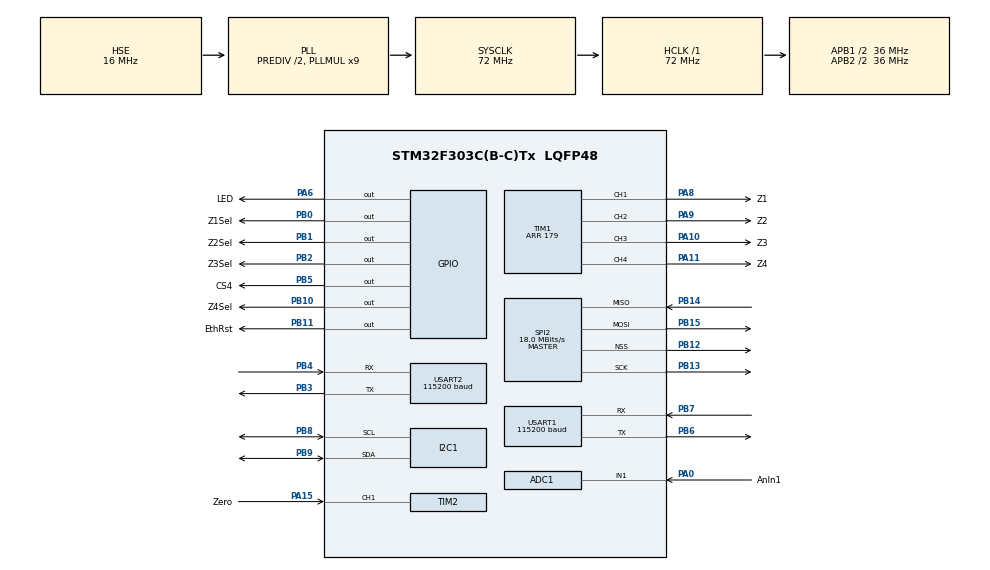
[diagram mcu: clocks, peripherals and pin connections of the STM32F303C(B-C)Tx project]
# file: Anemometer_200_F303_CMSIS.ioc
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ADC1.Channel-1\#ChannelRegularConversion=ADC_CHANNEL_1
ADC1.ClockPrescaler=ADC_CLOCK_ASYNC_DIV1
ADC1.ContinuousConvMode=ENABLE
ADC1.DMAContinuousRequests=ENABLE
ADC1.EOCSelection=ADC_EOC_SEQ_CONV
ADC1.ExternalTrigConv=ADC_EXTERNALTRIGCONV_T3_TRGO
ADC1.NbrOfConversion=1
ADC1.NbrOfConversionFlag=1
ADC1.Offset-1\#ChannelRegularConversion=0
ADC1.OffsetNumber-1\#ChannelRegularConversion=ADC_OFFSET_NONE
ADC1.Rank-1\#ChannelRegularConversion=1
ADC1.SamplingTime-1\#ChannelRegularConversion=ADC_SAMPLETIME_19CYCLES_5
ADC1.SequencerNbRanks=0
ADC1.master=1
Dma.ADC1.0.Direction=DMA_PERIPH_TO_MEMORY
Dma.ADC1.0.Instance=DMA1_Channel1
Dma.ADC1.0.MemDataAlignment=DMA_MDATAALIGN_HALFWORD
Dma.ADC1.0.MemInc=DMA_MINC_ENABLE
Dma.ADC1.0.Mode=DMA_NORMAL
Dma.ADC1.0.PeriphDataAlignment=DMA_PDATAALIGN_HALFWORD
Dma.ADC1.0.PeriphInc=DMA_PINC_DISABLE
Dma.ADC1.0.Priority=DMA_PRIORITY_HIGH
Dma.Request0=ADC1
I2C1.Timing=0x10808DD3
Mcu.Family=STM32F3
Mcu.Name=STM32F303C(B-C)Tx
Mcu.Package=LQFP48
NVIC.DMA1_Channel1_IRQn=true\:0\:0\:false\:false\:true\:false\:true\:true
NVIC.PriorityGroup=NVIC_PRIORITYGROUP_4
NVIC.TIM2_IRQn=true\:0\:0\:false\:false\:true\:true\:true\:true
NVIC.TIM3_IRQn=true\:0\:0\:false\:false\:true\:true\:true\:true
NVIC.TIM4_IRQn=true\:0\:0\:false\:false\:true\:true\:true\:true
PA0.GPIO_Label=AnIn1
PA0.Mode=IN1-Single-Ended
PA0.Signal=ADC1_IN1
PA10.GPIO_Label=Z3
PA10.Signal=S_TIM1_CH3
PA11.GPIO_Label=Z4
PA11.Signal=S_TIM1_CH4
PA15.GPIO_Label=Zero
PA15.Signal=S_TIM2_CH1_ETR
PA6.GPIO_Label=LED
PA6.Signal=GPIO_Output
PA8.GPIO_Label=Z1
PA8.Signal=S_TIM1_CH1
PA9.GPIO_Label=Z2
PA9.Signal=S_TIM1_CH2
PB0.GPIO_Label=Z1Sel
PB0.Signal=GPIO_Output
PB1.GPIO_Label=Z2Sel
PB1.Signal=GPIO_Output
PB10.GPIO_Label=Z4Sel
PB10.Signal=GPIO_Output
PB11.GPIO_Label=EthRst
PB11.Signal=GPIO_Output
PB12.Mode=NSS_Signal_Hard_Output
PB12.Signal=SPI2_NSS
PB13.Mode=Full_Duplex_Master
PB13.Signal=SPI2_SCK
PB14.Mode=Full_Duplex_Master
PB14.Signal=SPI2_MISO
PB15.Mode=Full_Duplex_Master
PB15.Signal=SPI2_MOSI
PB2.GPIO_Label=Z3Sel
PB2.Signal=GPIO_Output
PB3.Mode=Asynchronous
PB3.Signal=USART2_TX
PB4.Mode=Asynchronous
PB4.Signal=USART2_RX
PB5.GPIO_Label=CS4
PB5.Signal=GPIO_Output
PB6.Mode=Asynchronous
PB6.Signal=USART1_TX
PB7.Mode=Asynchronous
PB7.Signal=USART1_RX
PB8.GPIO_Pu=GPIO_PULLUP
PB8.Mode=I2C
PB8.Signal=I2C1_SCL
PB9.GPIO_Pu=GPIO_PULLUP
PB9.Mode=I2C
PB9.Signal=I2C1_SDA
PF0-OSC_IN.Mode=HSE-External-Oscillator
PF0-OSC_IN.Signal=RCC_OSC_IN
PF1-OSC_OUT.Mode=HSE-External-Oscillator
PF1-OSC_OUT.Signal=RCC_OSC_OUT
ProjectManager.HeapSize=0x200
ProjectManager.StackSize=0x400
ProjectManager.TargetToolchain=STM32CubeIDE
RCC.AHBFreq_Value=72000000
RCC.APB1CLKDivider=RCC_HCLK_DIV2
RCC.APB1Freq_Value=36000000
RCC.APB1TimFreq_Value=72000000
RCC.APB2CLKDivider=RCC_HCLK_DIV2
RCC.APB2Freq_Value=36000000
RCC.APB2TimFreq_Value=72000000
RCC.CortexFreq_Value=72000000
RCC.HCLKFreq_Value=72000000
RCC.HSE_VALUE=16000000
RCC.HSI_VALUE=8000000
RCC.I2c1ClockSelection=RCC_I2C1CLKSOURCE_SYSCLK
RCC.LSE_VALUE=32768
RCC.PLLMUL=RCC_PLL_MUL9
RCC.PLLSourceVirtual=RCC_PLLSOURCE_HSE
RCC.RCC_PLLsource_Clock_Source_FROM_HSE=RCC_HSE_PREDIV_DIV2
RCC.SYSCLKFreq_VALUE=72000000
RCC.SYSCLKSourceVirtual=RCC_SYSCLKSOURCE_PLLCLK
RCC.USBFreq_Value=72000000
SH.S_TIM1_CH1.0=TIM1_CH1,Output Compare1 CH1
SH.S_TIM1_CH2.0=TIM1_CH2,Output Compare2 CH2
SH.S_TIM1_CH3.0=TIM1_CH3,Output Compare3 CH3
SH.S_TIM1_CH4.0=TIM1_CH4,Output Compare4 CH4
SH.S_TIM2_CH1_ETR.0=TIM2_CH1,Input_Capture1_from_TI1
SPI2.BaudRatePrescaler=SPI_BAUDRATEPRESCALER_2
SPI2.CalculateBaudRate=18.0 MBits/s
SPI2.Direction=SPI_DIRECTION_2LINES
SPI2.Mode=SPI_MODE_MASTER
SPI2.VirtualNSS=VM_NSSHARD
SPI2.VirtualType=VM_MASTER
TIM1.Channel-Output\ Compare1\ CH1=TIM_CHANNEL_1
TIM1.Channel-Output\ Compare2\ CH2=TIM_CHANNEL_2
TIM1.Channel-Output\ Compare3\ CH3=TIM_CHANNEL_3
TIM1.Channel-Output\ Compare4\ CH4=TIM_CHANNEL_4
TIM1.OCMode_1=TIM_OCMODE_TOGGLE
TIM1.OCMode_2=TIM_OCMODE_TOGGLE
TIM1.OCMode_3=TIM_OCMODE_TOGGLE
TIM1.OCMode_4=TIM_OCMODE_TOGGLE
TIM1.Period=179
TIM1.RepetitionCounter=15
TIM1.TIM_MasterOutputTrigger=TIM_TRGO_UPDATE
TIM2.AutoReloadPreload=TIM_AUTORELOAD_PRELOAD_ENABLE
TIM2.Channel-Input_Capture1_from_TI1=TIM_CHANNEL_1
TIM2.ICPolarity_CH1=TIM_INPUTCHANNELPOLARITY_FALLING
TIM2.TIM_MasterOutputTrigger=TIM_TRGO_UPDATE
TIM3.AutoReloadPreload=TIM_AUTORELOAD_PRELOAD_ENABLE
TIM3.Channel-Output\ Compare1\ No\ Output=TIM_CHANNEL_1
TIM3.OCMode_1=TIM_OCMODE_ACTIVE
TIM3.Period=38000
TIM3.TIM_MasterOutputTrigger=TIM_TRGO_UPDATE
TIM4.Prescaler=12
USART1.BaudRate=115200
USART1.VirtualMode-Asynchronous=VM_ASYNC
USART2.BaudRate=115200
USART2.VirtualMode-Asynchronous=VM_ASYNC
VP_TIM1_VS_ClockSourceINT.Mode=Internal
VP_TIM1_VS_OPM.Mode=OPM_bit
VP_TIM2_VS_ClockSourceINT.Mode=Internal
VP_TIM2_VS_ClockSourceITR.Mode=TriggerSource_ITR2
VP_TIM2_VS_ControllerModeReset.Mode=Reset Mode
VP_TIM3_VS_ClockSourceINT.Mode=Internal
VP_TIM3_VS_ClockSourceITR.Mode=TriggerSource_ITR0
VP_TIM3_VS_ControllerModeTrigger.Mode=Trigger Mode
VP_TIM3_VS_OPM.Mode=OPM_bit
VP_TIM3_VS_no_output1.Mode=Output Compare1 No Output
VP_TIM4_VS_ClockSourceINT.Mode=Internal
board=custom

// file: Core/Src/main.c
/* USER CODE BEGIN Header */
/**
  ******************************************************************************
  * @file           : main.c
  * @brief          : Main program body
  ******************************************************************************
  * @attention
  *
  * <h2><center>&copy; Copyright (c) 2023 STMicroelectronics.
  * All rights reserved.</center></h2>
  *
  * This software component is licensed by ST under BSD 3-Clause license,
  * the "License"; You may not use this file except in compliance with the
  * License. You may obtain a copy of the License at:
  *                        opensource.org/licenses/BSD-3-Clause
  *
  ******************************************************************************
  */
/* USER CODE END Header */
#include "main.h"

/* USER CODE BEGIN PD */
uint8_t currentLevel = 0;
char SndBuffer[100];
uint32_t finishCapture, captureTIM2, maxIdx;
float convArray[CONVERSION_COUNT + REF_COUNT];
uint32_t * maxIndex = 0;
/* USER CODE END PD */

ADC_HandleTypeDef hadc1;
DMA_HandleTypeDef hdma_adc1;

I2C_HandleTypeDef hi2c1;

SPI_HandleTypeDef hspi2;

TIM_HandleTypeDef htim1;
TIM_HandleTypeDef htim2;
TIM_HandleTypeDef htim3;
TIM_HandleTypeDef htim4;

UART_HandleTypeDef huart1;
UART_HandleTypeDef huart2;

void SystemClock_Config(void);
static void MX_GPIO_Init(void);
static void MX_DMA_Init(void);
static void MX_TIM1_Init(void);
static void MX_ADC1_Init(void);
static void MX_I2C1_Init(void);
static void MX_SPI2_Init(void);
static void MX_USART1_UART_Init(void);
static void MX_USART2_UART_Init(void);
static void MX_TIM4_Init(void);
static void MX_TIM3_Init(void);
static void MX_TIM2_Init(void);

/* USER CODE BEGIN 0 */
#ifdef X9CXXX
/* Управление усилением от 0 до 99 */
void levelUp(uint8_t channel, uint8_t lev, bool updn) {
	/* Начальный уровень -- высокий, переключение выполняется переходом в низкий уровень */
	HAL_GPIO_WritePin(INC_GPIO_Port, INC_Pin, GPIO_PIN_SET);
	/* Отключим выбор всех регуляторов */
	HAL_GPIO_WritePin(CS1_GPIO_Port, CS1_Pin, GPIO_PIN_SET);
	HAL_GPIO_WritePin(CS2_GPIO_Port, CS2_Pin, GPIO_PIN_SET);
	HAL_GPIO_WritePin(CS3_GPIO_Port, CS3_Pin, GPIO_PIN_SET);
	HAL_GPIO_WritePin(CS4_GPIO_Port, CS4_Pin, GPIO_PIN_SET);
	/* Режим повышения уровня сигнала */
	if (updn) {
		HAL_GPIO_WritePin(UD_GPIO_Port, UD_Pin, GPIO_PIN_SET);
	} else {
		HAL_GPIO_WritePin(UD_GPIO_Port, UD_Pin, GPIO_PIN_RESET);
	}
	switch(channel) {
		case 0: {
			HAL_GPIO_WritePin(CS1_GPIO_Port, CS1_Pin, GPIO_PIN_RESET);
			break;
		}
		case 1: {
			HAL_GPIO_WritePin(CS2_GPIO_Port, CS2_Pin, GPIO_PIN_RESET);
			break;
		}
		case 2: {
			HAL_GPIO_WritePin(CS3_GPIO_Port, CS3_Pin, GPIO_PIN_RESET);
			break;
		}
		case 3: {
			HAL_GPIO_WritePin(CS4_GPIO_Port, CS4_Pin, GPIO_PIN_RESET);
			break;
		}
		default: {
			return;
		}
	}
	for (int iii = 0; iii < lev; iii++) {
		HAL_GPIO_WritePin(INC_GPIO_Port, INC_Pin, GPIO_PIN_RESET);
		HAL_GPIO_WritePin(INC_GPIO_Port, INC_Pin, GPIO_PIN_SET);
	}
	HAL_GPIO_WritePin(INC_GPIO_Port, INC_Pin, GPIO_PIN_RESET);
}
#endif

#ifdef  AD5245
/* Управление усилением от 0 до 254 */
void AD5245level(uint8_t lev) {
	uint8_t cmdBuff[2];
	uint16_t cmd = AD5245_WRITE;
	cmdBuff[0] = lev;
	HAL_I2C_Mem_Write(&AD5245_I2C_PORT, AD5245_I2C_ADDR, cmd, 2, cmdBuff, 1, 100);
}
#endif

/* USER CODE END 0 */

int main(void)
{

  /* MCU Configuration--------------------------------------------------------*/

  /* Reset of all peripherals, Initializes the Flash interface and the Systick. */
  HAL_Init();

  /* Configure the system clock */
  SystemClock_Config();

  /* Initialize all configured peripherals */
  MX_GPIO_Init();
  MX_DMA_Init();
  MX_TIM1_Init();
  MX_ADC1_Init();
  MX_I2C1_Init();
  MX_SPI2_Init();
  MX_USART1_UART_Init();
  MX_USART2_UART_Init();
  MX_TIM4_Init();
  MX_TIM3_Init();
  MX_TIM2_Init();

  /* Infinite loop */
  /* USER CODE BEGIN WHILE */
  HAL_UART_Transmit(&huart1, (uint8_t *) START_TEXT, sizeof(START_TEXT), 1000);
  mesCount = 0;
  TIM3->ARR = MEASURMENT_DALAY;
  for (int iii = 0; iii < CONVERSION_COUNT; iii++) {
	  adcBuffer[iii] = 0;
	  measArray[iii] = 0;
  }

  HAL_GPIO_WritePin(Z1Sel_GPIO_Port, Z1Sel_Pin, GPIO_PIN_RESET);
  HAL_GPIO_WritePin(Z2Sel_GPIO_Port, Z2Sel_Pin, GPIO_PIN_RESET);
  HAL_GPIO_WritePin(Z3Sel_GPIO_Port, Z3Sel_Pin, GPIO_PIN_RESET);
  HAL_GPIO_WritePin(Z4Sel_GPIO_Port, Z4Sel_Pin, GPIO_PIN_RESET);

  if ( (HAL_ADCEx_Calibration_Start(&hadc1, ADC_SINGLE_ENDED) == HAL_OK)
	&& (HAL_TIM_Base_Start_IT(&htim3) == HAL_OK)
	&& (HAL_TIM_Base_Start_IT(&htim4) == HAL_OK) ) {
	  HAL_UART_Transmit(&huart1, (uint8_t *) FINISH_TEXT, sizeof(FINISH_TEXT), 1000);
  } else {
	  HAL_UART_Transmit(&huart1, (uint8_t *) ERROR_TEXT, sizeof(ERROR_TEXT), 1000);
	  HAL_Delay(1000);
	  HAL_NVIC_SystemReset();
  }

  /* Test AD5245 */
	#ifdef AD5245
  currentLevel = 0;
	  AD5245level(currentLevel);
	#endif
	float refArray[REF_COUNT] =
	{
			1122.97, 1031.38, 599.13, -40.72, -699.43, -1138.74, -1223.18, -899.77, -281.71, 454.87, 1085.83, 1373.47, 1222.8, 673.01,  //14
			-84.56, -867.29, -1357.49, -1416.9, -1007.57, -291.46, 584.14, 1286.34, 1579.3, 1363.37, 711.94, -217.14, -1012.41, -1528.57, //14
			-1548.05, -1060.15, -239.89, 711.1, 1447.19, 1710.93, 1419.82, 673.13, -272.26, -1175.91, -1684, -1638.54, -1066.84, -152.26, //14
			846.65, 1582.45, 1788.48, 1402.37, 566.62, -440.04, -1346.52, -1795.53, -1648.72, -976.28, 11.56, 1031.21, 1709.1, 1805.62, //14
			1302.23, 379.69, -659.57, -1491.82, -1822.64, -1541.61, -772.99, 251.66, 1214.67, 1758.8, 1698.31, 1072.94, 104.21, -887.92, //14
			-1574.22, -1737.93, -1318.85, -458.2, 508.22, 1334.22, 1689.41, 1462.39, 755.91, -178.97, -1035.17, -1523.92, -1492.66, -973.56, //14
			-160.39, 713.11, 1325.14, 1472.77, 1122.73, 421.84, -380.02, -1039.83, -1317.47, -1153.01, -623.86, 80.94, 750.52, 1144.58, //14
			1139.43, 767.25
	};
  while (1)
  {
	  if (readyData) {
		  HAL_TIM_Base_Stop_IT(&htim4);
		  memset(SndBuffer, 0, sizeof(SndBuffer));
		#ifdef RAW_DATA_OUT
		  HAL_UART_Transmit(&huart1, (uint8_t *) "---\n\r", sizeof("---\n\r"), 1000);
		#endif
		  for (int ii = 0; ii < CONVERSION_COUNT; ii++) {
			measArray[ii] = measArray[ii] / MEASURE_COUNT - avgLevel;
		#ifdef RAW_DATA_OUT
		sprintf(SndBuffer, "%6.2f\n\r", measArray[ii]);
		HAL_UART_Transmit(&huart1, (uint8_t *) SndBuffer, sizeof(SndBuffer), 1000);
			#endif
		  }
		#ifdef RAW_DATA_OUT
		  HAL_UART_Transmit(&huart1, (uint8_t *) "---\n\r", sizeof("---\n\r"), 1000);
		#endif
		#ifndef RAW_DATA_OUT
			float maxLev = 0;
			maxAmp = 0;
			maxIdxAmp = 0;
			//HAL_UART_Transmit(&huart1, (uint8_t *) "TP0\n\r", sizeof("TP0\n\r"), 1000);
			arm_conv_f32(measArray, CONVERSION_COUNT, refArray, REF_COUNT, convArray);
			arm_chilbert_f32(&arm_cfft_sR_f32_len128, convArray);
			arm_absmax_f32(convArray, CONVERSION_COUNT + REF_COUNT, &maxLev, &maxIdxAmp);
			/*
			for (int ii = 0; ii < CONVERSION_COUNT + REF_COUNT; ii++) {
				if (maxLev < abs(convArray[ii])) {
					maxIdxAmp = ii;
					maxLev = abs(convArray[ii]);
				}
			}*/
			//arm_absmax_f32(convArray, CONVERSION_COUNT + REF_COUNT, maxLev, maxIndex);
			maxIdxAmp = maxIdxAmp - REF_COUNT;
			maxIdx = maxIdxAmp * SAMPLE_RATE;
		  memset(SndBuffer, 0, sizeof(SndBuffer));
		  //float vSound =

		  sprintf(SndBuffer, "Idx:%lu, maxLev: %f, avgLev:%6.2f, CAP: %lu, V: %5.2f, Vc:%5.2f  \r",
				  maxIdxAmp, maxLev, avgLevel, finishCapture,
				  204000 / ((float) 1/72 * (MEASURMENT_DALAY + finishCapture)),
				  204000 / ((float) 1/72 * (MEASURMENT_DALAY + maxIdxAmp * SAMPLE_RATE )));

	  	  HAL_UART_Transmit(&huart1, (uint8_t *) SndBuffer, sizeof(SndBuffer), 1000);
		#endif
		  for (int ii = 0; ii < CONVERSION_COUNT; ii++) {
			  measArray[ii] = 0;
		  }
	  	  readyData = false;
	  	HAL_TIM_Base_Start_IT(&htim4);
	  }
	  HAL_Delay(100);
	  /*
	  if (count++ > 100) {
		  count = 0;
		  ud = ! ud;
	  }
	  levelUp(0, 1, ud);
*/
    /* USER CODE END WHILE */

  }
}

void SystemClock_Config(void)
{
  RCC_OscInitTypeDef RCC_OscInitStruct = {0};
  RCC_ClkInitTypeDef RCC_ClkInitStruct = {0};
  RCC_PeriphCLKInitTypeDef PeriphClkInit = {0};

  /** Initializes the RCC Oscillators according to the specified parameters
  * in the RCC_OscInitTypeDef structure.
  */
  RCC_OscInitStruct.OscillatorType = RCC_OSCILLATORTYPE_HSE;
  RCC_OscInitStruct.HSEState = RCC_HSE_ON;
  RCC_OscInitStruct.HSEPredivValue = RCC_HSE_PREDIV_DIV2;
  RCC_OscInitStruct.HSIState = RCC_HSI_ON;
  RCC_OscInitStruct.PLL.PLLState = RCC_PLL_ON;
  RCC_OscInitStruct.PLL.PLLSource = RCC_PLLSOURCE_HSE;
  RCC_OscInitStruct.PLL.PLLMUL = RCC_PLL_MUL9;
  if (HAL_RCC_OscConfig(&RCC_OscInitStruct) != HAL_OK)
  {
    Error_Handler();
  }

  /** Initializes the CPU, AHB and APB buses clocks
  */
  RCC_ClkInitStruct.ClockType = RCC_CLOCKTYPE_HCLK|RCC_CLOCKTYPE_SYSCLK
                              |RCC_CLOCKTYPE_PCLK1|RCC_CLOCKTYPE_PCLK2;
  RCC_ClkInitStruct.SYSCLKSource = RCC_SYSCLKSOURCE_PLLCLK;
  RCC_ClkInitStruct.AHBCLKDivider = RCC_SYSCLK_DIV1;
  RCC_ClkInitStruct.APB1CLKDivider = RCC_HCLK_DIV2;
  RCC_ClkInitStruct.APB2CLKDivider = RCC_HCLK_DIV2;

  if (HAL_RCC_ClockConfig(&RCC_ClkInitStruct, FLASH_LATENCY_2) != HAL_OK)
  {
    Error_Handler();
  }
  PeriphClkInit.PeriphClockSelection = RCC_PERIPHCLK_USART1|RCC_PERIPHCLK_USART2
                              |RCC_PERIPHCLK_I2C1|RCC_PERIPHCLK_TIM1
                              |RCC_PERIPHCLK_ADC12;
  PeriphClkInit.Usart1ClockSelection = RCC_USART1CLKSOURCE_PCLK2;
  PeriphClkInit.Usart2ClockSelection = RCC_USART2CLKSOURCE_PCLK1;
  PeriphClkInit.Adc12ClockSelection = RCC_ADC12PLLCLK_DIV1;
  PeriphClkInit.I2c1ClockSelection = RCC_I2C1CLKSOURCE_SYSCLK;
  PeriphClkInit.Tim1ClockSelection = RCC_TIM1CLK_HCLK;
  if (HAL_RCCEx_PeriphCLKConfig(&PeriphClkInit) != HAL_OK)
  {
    Error_Handler();
  }
}

static void MX_ADC1_Init(void)
{

  ADC_MultiModeTypeDef multimode = {0};
  ADC_ChannelConfTypeDef sConfig = {0};

  /** Common config
  */
  hadc1.Instance = ADC1;
  hadc1.Init.ClockPrescaler = ADC_CLOCK_ASYNC_DIV1;
  hadc1.Init.Resolution = ADC_RESOLUTION_12B;
  hadc1.Init.ScanConvMode = ADC_SCAN_DISABLE;
  hadc1.Init.ContinuousConvMode = ENABLE;
  hadc1.Init.DiscontinuousConvMode = DISABLE;
  hadc1.Init.ExternalTrigConvEdge = ADC_EXTERNALTRIGCONVEDGE_RISING;
  hadc1.Init.ExternalTrigConv = ADC_EXTERNALTRIGCONV_T3_TRGO;
  hadc1.Init.DataAlign = ADC_DATAALIGN_RIGHT;
  hadc1.Init.NbrOfConversion = 1;
  hadc1.Init.DMAContinuousRequests = ENABLE;
  hadc1.Init.EOCSelection = ADC_EOC_SEQ_CONV;
  hadc1.Init.LowPowerAutoWait = DISABLE;
  hadc1.Init.Overrun = ADC_OVR_DATA_OVERWRITTEN;
  if (HAL_ADC_Init(&hadc1) != HAL_OK)
  {
    Error_Handler();
  }

  /** Configure the ADC multi-mode
  */
  multimode.Mode = ADC_MODE_INDEPENDENT;
  if (HAL_ADCEx_MultiModeConfigChannel(&hadc1, &multimode) != HAL_OK)
  {
    Error_Handler();
  }

  /** Configure Regular Channel
  */
  sConfig.Channel = ADC_CHANNEL_1;
  sConfig.Rank = ADC_REGULAR_RANK_1;
  sConfig.SingleDiff = ADC_SINGLE_ENDED;
  sConfig.SamplingTime = ADC_SAMPLETIME_19CYCLES_5;
  sConfig.OffsetNumber = ADC_OFFSET_NONE;
  sConfig.Offset = 0;
  if (HAL_ADC_ConfigChannel(&hadc1, &sConfig) != HAL_OK)
  {
    Error_Handler();
  }

}

static void MX_I2C1_Init(void)
{

  hi2c1.Instance = I2C1;
  hi2c1.Init.Timing = 0x10808DD3;
  hi2c1.Init.OwnAddress1 = 0;
  hi2c1.Init.AddressingMode = I2C_ADDRESSINGMODE_7BIT;
  hi2c1.Init.DualAddressMode = I2C_DUALADDRESS_DISABLE;
  hi2c1.Init.OwnAddress2 = 0;
  hi2c1.Init.OwnAddress2Masks = I2C_OA2_NOMASK;
  hi2c1.Init.GeneralCallMode = I2C_GENERALCALL_DISABLE;
  hi2c1.Init.NoStretchMode = I2C_NOSTRETCH_DISABLE;
  if (HAL_I2C_Init(&hi2c1) != HAL_OK)
  {
    Error_Handler();
  }

  /** Configure Analogue filter
  */
  if (HAL_I2CEx_ConfigAnalogFilter(&hi2c1, I2C_ANALOGFILTER_ENABLE) != HAL_OK)
  {
    Error_Handler();
  }

  /** Configure Digital filter
  */
  if (HAL_I2CEx_ConfigDigitalFilter(&hi2c1, 0) != HAL_OK)
  {
    Error_Handler();
  }

}

static void MX_SPI2_Init(void)
{

  /* SPI2 parameter configuration*/
  hspi2.Instance = SPI2;
  hspi2.Init.Mode = SPI_MODE_MASTER;
  hspi2.Init.Direction = SPI_DIRECTION_2LINES;
  hspi2.Init.DataSize = SPI_DATASIZE_4BIT;
  hspi2.Init.CLKPolarity = SPI_POLARITY_LOW;
  hspi2.Init.CLKPhase = SPI_PHASE_1EDGE;
  hspi2.Init.NSS = SPI_NSS_HARD_OUTPUT;
  hspi2.Init.BaudRatePrescaler = SPI_BAUDRATEPRESCALER_2;
  hspi2.Init.FirstBit = SPI_FIRSTBIT_MSB;
  hspi2.Init.TIMode = SPI_TIMODE_DISABLE;
  hspi2.Init.CRCCalculation = SPI_CRCCALCULATION_DISABLE;
  hspi2.Init.CRCPolynomial = 7;
  hspi2.Init.CRCLength = SPI_CRC_LENGTH_DATASIZE;
  hspi2.Init.NSSPMode = SPI_NSS_PULSE_ENABLE;
  if (HAL_SPI_Init(&hspi2) != HAL_OK)
  {
    Error_Handler();
  }

}

static void MX_TIM1_Init(void)
{

  TIM_ClockConfigTypeDef sClockSourceConfig = {0};
  TIM_MasterConfigTypeDef sMasterConfig = {0};
  TIM_OC_InitTypeDef sConfigOC = {0};
  TIM_BreakDeadTimeConfigTypeDef sBreakDeadTimeConfig = {0};

  htim1.Instance = TIM1;
  htim1.Init.Prescaler = 0;
  htim1.Init.CounterMode = TIM_COUNTERMODE_UP;
  htim1.Init.Period = 179;
  htim1.Init.ClockDivision = TIM_CLOCKDIVISION_DIV1;
  htim1.Init.RepetitionCounter = 15;
  htim1.Init.AutoReloadPreload = TIM_AUTORELOAD_PRELOAD_DISABLE;
  if (HAL_TIM_Base_Init(&htim1) != HAL_OK)
  {
    Error_Handler();
  }
  sClockSourceConfig.ClockSource = TIM_CLOCKSOURCE_INTERNAL;
  if (HAL_TIM_ConfigClockSource(&htim1, &sClockSourceConfig) != HAL_OK)
  {
    Error_Handler();
  }
  if (HAL_TIM_OC_Init(&htim1) != HAL_OK)
  {
    Error_Handler();
  }
  if (HAL_TIM_OnePulse_Init(&htim1, TIM_OPMODE_SINGLE) != HAL_OK)
  {
    Error_Handler();
  }
  sMasterConfig.MasterOutputTrigger = TIM_TRGO_UPDATE;
  sMasterConfig.MasterOutputTrigger2 = TIM_TRGO2_RESET;
  sMasterConfig.MasterSlaveMode = TIM_MASTERSLAVEMODE_DISABLE;
  if (HAL_TIMEx_MasterConfigSynchronization(&htim1, &sMasterConfig) != HAL_OK)
  {
    Error_Handler();
  }
  sConfigOC.OCMode = TIM_OCMODE_TOGGLE;
  sConfigOC.Pulse = 0;
  sConfigOC.OCPolarity = TIM_OCPOLARITY_HIGH;
  sConfigOC.OCNPolarity = TIM_OCNPOLARITY_HIGH;
  sConfigOC.OCFastMode = TIM_OCFAST_DISABLE;
  sConfigOC.OCIdleState = TIM_OCIDLESTATE_RESET;
  sConfigOC.OCNIdleState = TIM_OCNIDLESTATE_RESET;
  if (HAL_TIM_OC_ConfigChannel(&htim1, &sConfigOC, TIM_CHANNEL_1) != HAL_OK)
  {
    Error_Handler();
  }
  if (HAL_TIM_OC_ConfigChannel(&htim1, &sConfigOC, TIM_CHANNEL_2) != HAL_OK)
  {
    Error_Handler();
  }
  if (HAL_TIM_OC_ConfigChannel(&htim1, &sConfigOC, TIM_CHANNEL_3) != HAL_OK)
  {
    Error_Handler();
  }
  if (HAL_TIM_OC_ConfigChannel(&htim1, &sConfigOC, TIM_CHANNEL_4) != HAL_OK)
  {
    Error_Handler();
  }
  sBreakDeadTimeConfig.OffStateRunMode = TIM_OSSR_DISABLE;
  sBreakDeadTimeConfig.OffStateIDLEMode = TIM_OSSI_DISABLE;
  sBreakDeadTimeConfig.LockLevel = TIM_LOCKLEVEL_OFF;
  sBreakDeadTimeConfig.DeadTime = 0;
  sBreakDeadTimeConfig.BreakState = TIM_BREAK_DISABLE;
  sBreakDeadTimeConfig.BreakPolarity = TIM_BREAKPOLARITY_HIGH;
  sBreakDeadTimeConfig.BreakFilter = 0;
  sBreakDeadTimeConfig.Break2State = TIM_BREAK2_DISABLE;
  sBreakDeadTimeConfig.Break2Polarity = TIM_BREAK2POLARITY_HIGH;
  sBreakDeadTimeConfig.Break2Filter = 0;
  sBreakDeadTimeConfig.AutomaticOutput = TIM_AUTOMATICOUTPUT_DISABLE;
  if (HAL_TIMEx_ConfigBreakDeadTime(&htim1, &sBreakDeadTimeConfig) != HAL_OK)
  {
    Error_Handler();
  }
  HAL_TIM_MspPostInit(&htim1);

}

static void MX_TIM2_Init(void)
{

  TIM_ClockConfigTypeDef sClockSourceConfig = {0};
  TIM_SlaveConfigTypeDef sSlaveConfig = {0};
  TIM_MasterConfigTypeDef sMasterConfig = {0};
  TIM_IC_InitTypeDef sConfigIC = {0};

  htim2.Instance = TIM2;
  htim2.Init.Prescaler = 0;
  htim2.Init.CounterMode = TIM_COUNTERMODE_UP;
  htim2.Init.Period = 4294967295;
  htim2.Init.ClockDivision = TIM_CLOCKDIVISION_DIV1;
  htim2.Init.AutoReloadPreload = TIM_AUTORELOAD_PRELOAD_ENABLE;
  if (HAL_TIM_Base_Init(&htim2) != HAL_OK)
  {
    Error_Handler();
  }
  sClockSourceConfig.ClockSource = TIM_CLOCKSOURCE_INTERNAL;
  if (HAL_TIM_ConfigClockSource(&htim2, &sClockSourceConfig) != HAL_OK)
  {
    Error_Handler();
  }
  if (HAL_TIM_IC_Init(&htim2) != HAL_OK)
  {
    Error_Handler();
  }
  sSlaveConfig.SlaveMode = TIM_SLAVEMODE_RESET;
  sSlaveConfig.InputTrigger = TIM_TS_ITR2;
  if (HAL_TIM_SlaveConfigSynchro(&htim2, &sSlaveConfig) != HAL_OK)
  {
    Error_Handler();
  }
  sMasterConfig.MasterOutputTrigger = TIM_TRGO_UPDATE;
  sMasterConfig.MasterSlaveMode = TIM_MASTERSLAVEMODE_DISABLE;
  if (HAL_TIMEx_MasterConfigSynchronization(&htim2, &sMasterConfig) != HAL_OK)
  {
    Error_Handler();
  }
  sConfigIC.ICPolarity = TIM_INPUTCHANNELPOLARITY_FALLING;
  sConfigIC.ICSelection = TIM_ICSELECTION_DIRECTTI;
  sConfigIC.ICPrescaler = TIM_ICPSC_DIV1;
  sConfigIC.ICFilter = 0;
  if (HAL_TIM_IC_ConfigChannel(&htim2, &sConfigIC, TIM_CHANNEL_1) != HAL_OK)
  {
    Error_Handler();
  }

}

static void MX_TIM3_Init(void)
{

  TIM_ClockConfigTypeDef sClockSourceConfig = {0};
  TIM_SlaveConfigTypeDef sSlaveConfig = {0};
  TIM_MasterConfigTypeDef sMasterConfig = {0};
  TIM_OC_InitTypeDef sConfigOC = {0};

  htim3.Instance = TIM3;
  htim3.Init.Prescaler = 0;
  htim3.Init.CounterMode = TIM_COUNTERMODE_UP;
  htim3.Init.Period = 38000;
  htim3.Init.ClockDivision = TIM_CLOCKDIVISION_DIV1;
  htim3.Init.AutoReloadPreload = TIM_AUTORELOAD_PRELOAD_ENABLE;
  if (HAL_TIM_Base_Init(&htim3) != HAL_OK)
  {
    Error_Handler();
  }
  sClockSourceConfig.ClockSource = TIM_CLOCKSOURCE_INTERNAL;
  if (HAL_TIM_ConfigClockSource(&htim3, &sClockSourceConfig) != HAL_OK)
  {
    Error_Handler();
  }
  if (HAL_TIM_OC_Init(&htim3) != HAL_OK)
  {
    Error_Handler();
  }
  if (HAL_TIM_OnePulse_Init(&htim3, TIM_OPMODE_SINGLE) != HAL_OK)
  {
    Error_Handler();
  }
  sSlaveConfig.SlaveMode = TIM_SLAVEMODE_TRIGGER;
  sSlaveConfig.InputTrigger = TIM_TS_ITR0;
  if (HAL_TIM_SlaveConfigSynchro(&htim3, &sSlaveConfig) != HAL_OK)
  {
    Error_Handler();
  }
  sMasterConfig.MasterOutputTrigger = TIM_TRGO_UPDATE;
  sMasterConfig.MasterSlaveMode = TIM_MASTERSLAVEMODE_DISABLE;
  if (HAL_TIMEx_MasterConfigSynchronization(&htim3, &sMasterConfig) != HAL_OK)
  {
    Error_Handler();
  }
  sConfigOC.OCMode = TIM_OCMODE_ACTIVE;
  sConfigOC.Pulse = 0;
  sConfigOC.OCPolarity = TIM_OCPOLARITY_HIGH;
  sConfigOC.OCFastMode = TIM_OCFAST_DISABLE;
  if (HAL_TIM_OC_ConfigChannel(&htim3, &sConfigOC, TIM_CHANNEL_1) != HAL_OK)
  {
    Error_Handler();
  }

}

static void MX_TIM4_Init(void)
{

  TIM_ClockConfigTypeDef sClockSourceConfig = {0};
  TIM_MasterConfigTypeDef sMasterConfig = {0};

  htim4.Instance = TIM4;
  htim4.Init.Prescaler = 12;
  htim4.Init.CounterMode = TIM_COUNTERMODE_UP;
  htim4.Init.Period = 65535;
  htim4.Init.ClockDivision = TIM_CLOCKDIVISION_DIV1;
  htim4.Init.AutoReloadPreload = TIM_AUTORELOAD_PRELOAD_DISABLE;
  if (HAL_TIM_Base_Init(&htim4) != HAL_OK)
  {
    Error_Handler();
  }
  sClockSourceConfig.ClockSource = TIM_CLOCKSOURCE_INTERNAL;
  if (HAL_TIM_ConfigClockSource(&htim4, &sClockSourceConfig) != HAL_OK)
  {
    Error_Handler();
  }
  sMasterConfig.MasterOutputTrigger = TIM_TRGO_RESET;
  sMasterConfig.MasterSlaveMode = TIM_MASTERSLAVEMODE_DISABLE;
  if (HAL_TIMEx_MasterConfigSynchronization(&htim4, &sMasterConfig) != HAL_OK)
  {
    Error_Handler();
  }

}

static void MX_USART1_UART_Init(void)
{

  huart1.Instance = USART1;
  huart1.Init.BaudRate = 115200;
  huart1.Init.WordLength = UART_WORDLENGTH_8B;
  huart1.Init.StopBits = UART_STOPBITS_1;
  huart1.Init.Parity = UART_PARITY_NONE;
  huart1.Init.Mode = UART_MODE_TX_RX;
  huart1.Init.HwFlowCtl = UART_HWCONTROL_NONE;
  huart1.Init.OverSampling = UART_OVERSAMPLING_16;
  huart1.Init.OneBitSampling = UART_ONE_BIT_SAMPLE_DISABLE;
  huart1.AdvancedInit.AdvFeatureInit = UART_ADVFEATURE_NO_INIT;
  if (HAL_UART_Init(&huart1) != HAL_OK)
  {
    Error_Handler();
  }

}

static void MX_USART2_UART_Init(void)
{

  huart2.Instance = USART2;
  huart2.Init.BaudRate = 115200;
  huart2.Init.WordLength = UART_WORDLENGTH_8B;
  huart2.Init.StopBits = UART_STOPBITS_1;
  huart2.Init.Parity = UART_PARITY_NONE;
  huart2.Init.Mode = UART_MODE_TX_RX;
  huart2.Init.HwFlowCtl = UART_HWCONTROL_NONE;
  huart2.Init.OverSampling = UART_OVERSAMPLING_16;
  huart2.Init.OneBitSampling = UART_ONE_BIT_SAMPLE_DISABLE;
  huart2.AdvancedInit.AdvFeatureInit = UART_ADVFEATURE_NO_INIT;
  if (HAL_UART_Init(&huart2) != HAL_OK)
  {
    Error_Handler();
  }

}

static void MX_DMA_Init(void)
{

  /* DMA controller clock enable */
  __HAL_RCC_DMA1_CLK_ENABLE();

  /* DMA interrupt init */
  /* DMA1_Channel1_IRQn interrupt configuration */
  HAL_NVIC_SetPriority(DMA1_Channel1_IRQn, 0, 0);
  HAL_NVIC_EnableIRQ(DMA1_Channel1_IRQn);

}

static void MX_GPIO_Init(void)
{
  GPIO_InitTypeDef GPIO_InitStruct = {0};

  /* GPIO Ports Clock Enable */
  __HAL_RCC_GPIOF_CLK_ENABLE();
  __HAL_RCC_GPIOA_CLK_ENABLE();
  __HAL_RCC_GPIOB_CLK_ENABLE();

  /*Configure GPIO pin Output Level */
  HAL_GPIO_WritePin(LED_GPIO_Port, LED_Pin, GPIO_PIN_RESET);

  /*Configure GPIO pin Output Level */
  HAL_GPIO_WritePin(GPIOB, Z1Sel_Pin|Z2Sel_Pin|Z3Sel_Pin|Z4Sel_Pin
                          |EthRst_Pin|CS4_Pin, GPIO_PIN_RESET);

  /*Configure GPIO pin : LED_Pin */
  GPIO_InitStruct.Pin = LED_Pin;
  GPIO_InitStruct.Mode = GPIO_MODE_OUTPUT_PP;
  GPIO_InitStruct.Pull = GPIO_NOPULL;
  GPIO_InitStruct.Speed = GPIO_SPEED_FREQ_LOW;
  HAL_GPIO_Init(LED_GPIO_Port, &GPIO_InitStruct);

  /*Configure GPIO pins : Z1Sel_Pin Z2Sel_Pin Z3Sel_Pin Z4Sel_Pin
                           EthRst_Pin CS4_Pin */
  GPIO_InitStruct.Pin = Z1Sel_Pin|Z2Sel_Pin|Z3Sel_Pin|Z4Sel_Pin
                          |EthRst_Pin|CS4_Pin;
  GPIO_InitStruct.Mode = GPIO_MODE_OUTPUT_PP;
  GPIO_InitStruct.Pull = GPIO_NOPULL;
  GPIO_InitStruct.Speed = GPIO_SPEED_FREQ_LOW;
  HAL_GPIO_Init(GPIOB, &GPIO_InitStruct);

}

/* USER CODE BEGIN 4 */
void HAL_TIM_IC_CaptureCallback(TIM_HandleTypeDef* htim) {
	if ((htim->Instance == TIM2) && (htim->Channel == HAL_TIM_ACTIVE_CHANNEL_1)) {
		captureTIM2 = HAL_TIM_ReadCapturedValue(&htim2, TIM_CHANNEL_1);
		if (readyCapture && (captureTIM2 > maxIdx) ) {
			LED_PULSE
			HAL_TIM_IC_Stop_IT(&htim2, TIM_CHANNEL_1);
			readyCapture = false;
			finishCapture = captureTIM2;
		}
	}
}
/* USER CODE END 4 */

void Error_Handler(void)
{
  /* USER CODE BEGIN Error_Handler_Debug */
	HAL_UART_Transmit(&huart1, (uint8_t *) "Error handler\n\r", sizeof("Error handler\n\r"), 1000);
  /* User can add his own implementation to report the HAL error return state */
  __disable_irq();
  while (1)
  {
  }
  /* USER CODE END Error_Handler_Debug */
}

#ifdef  USE_FULL_ASSERT
/**
  * @brief  Reports the name of the source file and the source line number
  *         where the assert_param error has occurred.
  * @param  file: pointer to the source file name
  * @param  line: assert_param error line source number
  * @retval None
  */
void assert_failed(uint8_t *file, uint32_t line)
{
  /* USER CODE BEGIN 6 */
	HAL_UART_Transmit(&huart1, (uint8_t *) "Assert failed\n\r", sizeof("Assert failed\n\r"), 1000);
  /* User can add his own implementation to report the file name and line number,
     ex: printf("Wrong parameters value: file %s on line %d\r\n", file, line) */
  /* USER CODE END 6 */
}
#endif /* USE_FULL_ASSERT */
